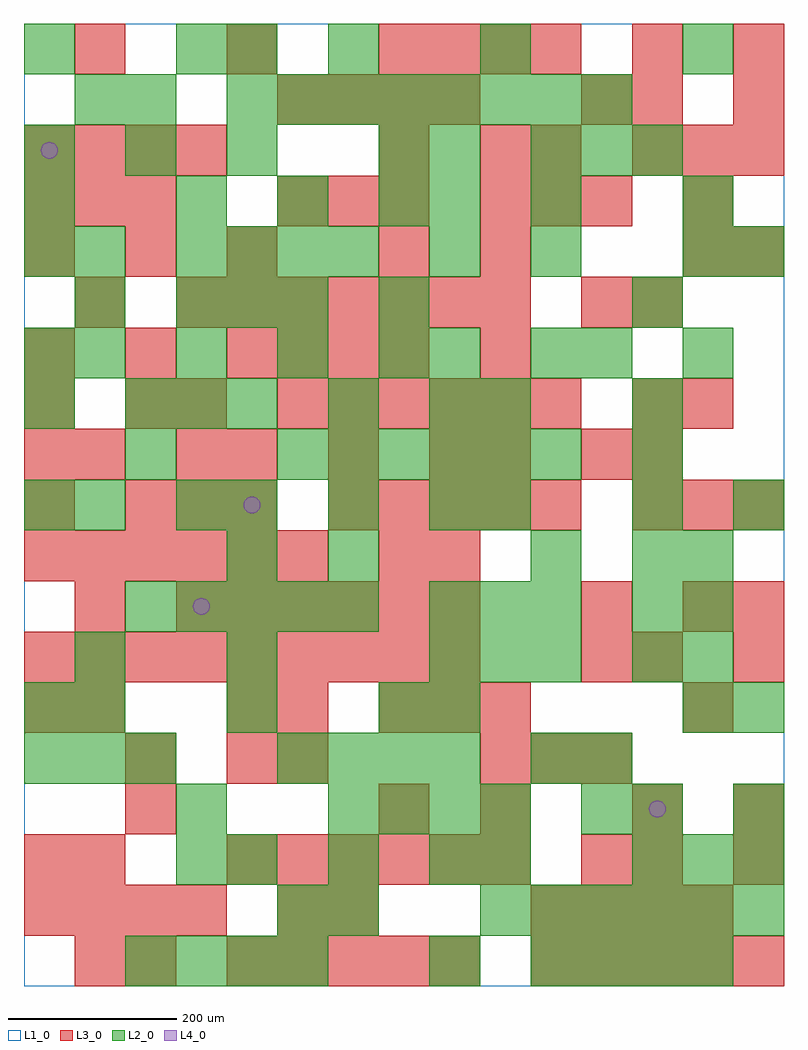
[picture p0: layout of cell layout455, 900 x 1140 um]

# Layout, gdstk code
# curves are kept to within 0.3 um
import gdstk
lib = gdstk.Library(unit=1e-6, precision=1e-09)
def R(c, l, rs):  # rectangles x0, y0, x1, y1
    for r in rs: c.add(gdstk.rectangle(r[:2], r[2:], *l))
def A(c, l, x, y, w, h, nx, ny, dx, dy):  # array of equal rectangles
    R(c, l, [(x+i*dx, y+j*dy, x+i*dx+w, y+j*dy+h) for i in range(nx) for j in range(ny)])
def P(c, l, *ps):  # polygons
    for p in ps: c.add(gdstk.Polygon(p, *l))
L1_0 = (1, 0)
L2_0 = (2, 0)
L3_0 = (3, 0)
L4_0 = (4, 0)

layout455 = lib.new_cell('layout455')
R(layout455, L1_0, [(0,0,900,1140)])
A(layout455, L2_0, 120, 0, 60, 60, 4, 1, 60, 0)
A(layout455, L2_0, 600, 0, 60, 60, 4, 1, 60, 0)
A(layout455, L2_0, 540, 60, 60, 60, 6, 1, 60, 0)
A(layout455, L2_0, 240, 120, 60, 60, 3, 2, 120, 420)
A(layout455, L2_0, 720, 120, 60, 60, 3, 1, 60, 0)
A(layout455, L2_0, 360, 180, 60, 60, 4, 1, 60, 0)
A(layout455, L2_0, 0, 240, 60, 60, 3, 1, 60, 0)
A(layout455, L2_0, 300, 240, 60, 60, 4, 1, 60, 0)
A(layout455, L2_0, 600, 240, 60, 60, 1, 3, 0, 240)
A(layout455, L2_0, 60, 300, 60, 60, 3, 1, 180, 0)
A(layout455, L2_0, 780, 300, 60, 60, 1, 4, 0, 60)
A(layout455, L2_0, 480, 360, 60, 60, 3, 2, 60, 60)
A(layout455, L2_0, 720, 360, 60, 60, 1, 6, 0, 60)
A(layout455, L2_0, 120, 420, 60, 60, 5, 1, 60, 0)
A(layout455, L2_0, 300, 600, 60, 60, 6, 1, 60, 0)
A(layout455, L2_0, 120, 660, 60, 60, 3, 1, 60, 0)
A(layout455, L2_0, 60, 720, 60, 60, 4, 1, 120, 0)
A(layout455, L2_0, 180, 780, 60, 60, 3, 1, 60, 0)
A(layout455, L2_0, 180, 840, 60, 60, 4, 1, 60, 0)
A(layout455, L2_0, 480, 840, 60, 60, 1, 3, 0, 60)
A(layout455, L2_0, 180, 900, 60, 60, 3, 1, 120, 0)
A(layout455, L2_0, 0, 960, 60, 60, 3, 1, 120, 0)
A(layout455, L2_0, 600, 960, 60, 60, 3, 1, 60, 0)
A(layout455, L2_0, 240, 1020, 60, 60, 8, 1, 60, 0)
R(layout455, L2_0, [(480,0,540,60), (300,60,360,120), (360,60,420,120), (180,120,240,180), (540,120,600,180), (180,180,240,240), (660,180,720,240), (720,180,780,240), (840,180,900,240), (660,240,720,300), (0,300,60,360), (480,300,540,360), (840,300,900,360), (60,360,120,420), (240,360,300,420), (240,480,300,540), (360,480,420,540), (0,540,60,600), (60,540,120,600), (180,540,240,600), (540,540,600,600), (840,540,900,600), (120,600,180,660), (0,660,60,720), (360,660,420,720), (480,660,540,720), (540,660,600,720), (0,720,60,780), (480,720,540,780), (660,720,720,780), (780,720,840,780), (60,780,120,840), (420,780,480,840), (720,780,780,840), (0,840,60,900), (60,840,120,900), (600,840,660,900), (780,840,840,900), (840,840,900,900), (0,900,60,960), (600,900,660,960), (780,900,840,960), (420,960,480,1020), (60,1020,120,1080), (120,1020,180,1080), (0,1080,60,1140), (180,1080,240,1140), (240,1080,300,1140), (360,1080,420,1140), (540,1080,600,1140), (780,1080,840,1140)])
A(layout455, L3_0, 240, 0, 60, 60, 5, 1, 60, 0)
A(layout455, L3_0, 600, 0, 60, 60, 5, 1, 60, 0)
A(layout455, L3_0, 0, 60, 60, 60, 4, 2, 60, 900)
A(layout455, L3_0, 600, 60, 60, 60, 4, 1, 60, 0)
A(layout455, L3_0, 240, 120, 60, 60, 6, 1, 60, 0)
A(layout455, L3_0, 540, 240, 60, 60, 3, 2, 60, 660)
A(layout455, L3_0, 420, 300, 60, 60, 3, 1, 60, 0)
A(layout455, L3_0, 0, 360, 60, 60, 9, 1, 60, 0)
A(layout455, L3_0, 60, 420, 60, 60, 1, 3, 0, 180)
A(layout455, L3_0, 180, 420, 60, 60, 6, 1, 60, 0)
A(layout455, L3_0, 660, 420, 60, 60, 1, 3, 0, 180)
A(layout455, L3_0, 0, 480, 60, 60, 6, 1, 60, 0)
A(layout455, L3_0, 0, 540, 60, 60, 1, 3, 0, 60)
A(layout455, L3_0, 120, 540, 60, 60, 3, 1, 60, 0)
A(layout455, L3_0, 360, 540, 60, 60, 5, 1, 60, 0)
A(layout455, L3_0, 720, 540, 60, 60, 3, 2, 60, 420)
A(layout455, L3_0, 240, 600, 60, 60, 3, 1, 120, 0)
A(layout455, L3_0, 540, 600, 60, 60, 1, 4, 0, 120)
A(layout455, L3_0, 300, 660, 60, 60, 6, 1, 60, 0)
A(layout455, L3_0, 0, 720, 60, 60, 3, 2, 120, 120)
A(layout455, L3_0, 300, 720, 60, 60, 3, 2, 60, 180)
A(layout455, L3_0, 180, 780, 60, 60, 7, 1, 60, 0)
A(layout455, L3_0, 0, 900, 60, 60, 3, 1, 60, 0)
A(layout455, L3_0, 300, 1020, 60, 60, 4, 1, 60, 0)
A(layout455, L3_0, 60, 1080, 60, 60, 3, 1, 180, 0)
A(layout455, L3_0, 480, 1080, 60, 60, 3, 1, 60, 0)
R(layout455, L3_0, [(60,0,120,60), (120,0,180,60), (300,60,360,120), (360,60,420,120), (0,120,60,180), (60,120,120,180), (660,120,720,180), (720,120,780,180), (840,120,900,180), (120,180,180,240), (420,180,480,240), (540,180,600,240), (720,180,780,240), (840,180,900,240), (120,240,180,300), (240,240,300,300), (300,240,360,300), (0,300,60,360), (60,300,120,360), (240,300,300,360), (300,300,360,360), (780,300,840,360), (660,360,720,420), (720,360,780,420), (840,360,900,420), (780,420,840,480), (840,420,900,480), (420,480,480,540), (480,480,540,540), (180,600,240,660), (720,600,780,660), (120,660,180,720), (180,660,240,720), (720,660,780,720), (780,660,840,720), (720,780,780,840), (420,840,480,900), (780,840,840,900), (840,840,900,900), (780,900,840,960), (420,960,480,1020), (600,960,660,1020), (660,1020,720,1080), (720,1020,780,1080), (840,1020,900,1080), (720,1080,780,1140), (840,1080,900,1140)])
P(layout455, L4_0, [(40,990),(39.239,993.827),(37.071,997.071),(33.827,999.239),(30,1000),(26.173,999.239),(22.929,997.071),(20.761,993.827),(20,990),(20.761,986.173),(22.929,982.929),(26.173,980.761),(30,980),(33.827,980.761),(37.071,982.929),(39.239,986.173)],
  [(220,450),(219.239,453.827),(217.071,457.071),(213.827,459.239),(210,460),(206.173,459.239),(202.929,457.071),(200.761,453.827),(200,450),(200.761,446.173),(202.929,442.929),(206.173,440.761),(210,440),(213.827,440.761),(217.071,442.929),(219.239,446.173)],
  [(280,570),(279.239,573.827),(277.071,577.071),(273.827,579.239),(270,580),(266.173,579.239),(262.929,577.071),(260.761,573.827),(260,570),(260.761,566.173),(262.929,562.929),(266.173,560.761),(270,560),(273.827,560.761),(277.071,562.929),(279.239,566.173)],
  [(760,210),(759.239,213.827),(757.071,217.071),(753.827,219.239),(750,220),(746.173,219.239),(742.929,217.071),(740.761,213.827),(740,210),(740.761,206.173),(742.929,202.929),(746.173,200.761),(750,200),(753.827,200.761),(757.071,202.929),(759.239,206.173)])

lib.write_gds('layout455.gds')
